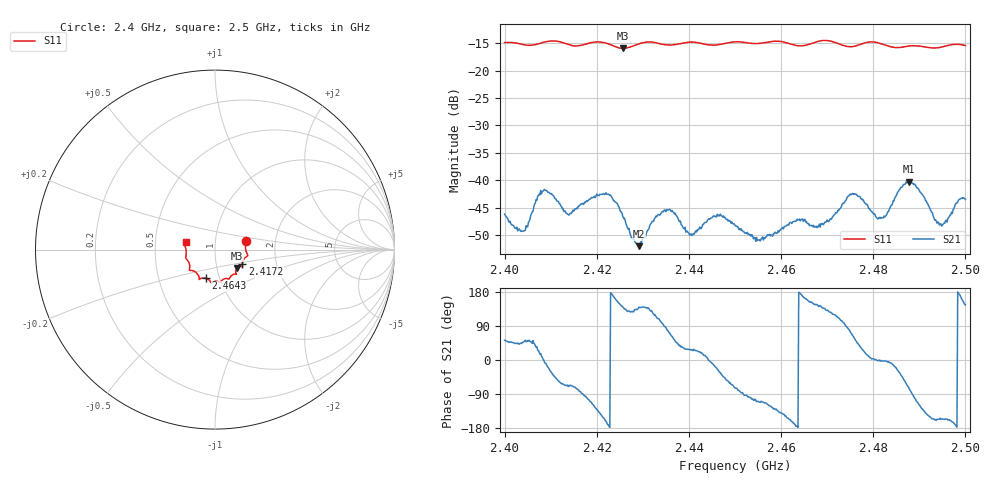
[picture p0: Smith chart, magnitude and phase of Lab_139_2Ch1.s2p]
# Hz S RI R 50
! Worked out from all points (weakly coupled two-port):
!   601 points, 2.4 GHz to 2.5 GHz, reference 50 ohm
!   highest |S21| = -40.27 dB at 2.4877 GHz (marker M1); lowest = -52.1 dB at 2.4292 GHz (marker M2)
!   lowest |S11| = -15.9 dB at 2.4257 GHz (marker M3), VSWR 1.38, Z = 62.4 - j13.1 ohm
!   |S11| at or under -10 dB: start of sweep to end of sweep
!   S12 and S22 are empty: the file has one direction only
!   S11 on the Smith chart (normalised r, x): 2.4 GHz: 1.41, +0.14; 2.4172 GHz: 1.34, -0.22; 2.4643 GHz: 0.86, -0.28; 2.5 GHz: 0.72, +0.06
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2.4e9  0.1732 0.0496  0.00302 0.00387  0 0  0 0
2.404e9  0.1712 0.0252  0.00237 0.00247  0 0  0 0
2.408667e9  0.1803 -0.0261  0.00817 -0.000907  0 0  0 0
2.413833e9  0.1668 -0.0452  0.00165 -0.00456  0 0  0 0
2.416667e9  0.153 -0.0747  0.000266 -0.00603  0 0  0 0
2.417167e9  0.1525 -0.0803  -0.000351 -0.00601  0 0  0 0
2.4225e9  0.1485 -0.0937  -0.00736 -0.00115  0 0  0 0
2.425667e9  0.1224 -0.1023  -0.00357 0.00299  0 0  0 0
2.429167e9  0.1163 -0.1319  -0.0019 0.00161  0 0  0 0
2.433333e9  0.1129 -0.1366  -0.0016 0.00458  0 0  0 0
2.440667e9  0.0785 -0.1644  0.00279 0.0014  0 0  0 0
2.445667e9  0.05 -0.1635  0.00442 -0.00142  0 0  0 0
2.45e9  0.0299 -0.1807  0.00107 -0.00372  0 0  0 0
2.455e9  0.00161 -0.1769  -0.000915 -0.00269  0 0  0 0
2.464333e9  -0.0504 -0.1604  -0.00434 0.00054  0 0  0 0
2.466667e9  -0.0761 -0.1599  -0.0034 0.00181  0 0  0 0
2.475333e9  -0.1097 -0.1238  0.00272 0.00694  0 0  0 0
2.481e9  -0.1423 -0.1094  0.00441 -0.000167  0 0  0 0
2.483333e9  -0.1411 -0.0897  0.00516 -0.000404  0 0  0 0
2.487667e9  -0.1591 -0.0523  0.0031 -0.00919  0 0  0 0
2.494667e9  -0.1629 0.00642  -0.00367 -0.0016  0 0  0 0
2.5e9  -0.1642 0.042  -0.00547 0.00378  0 0  0 0
